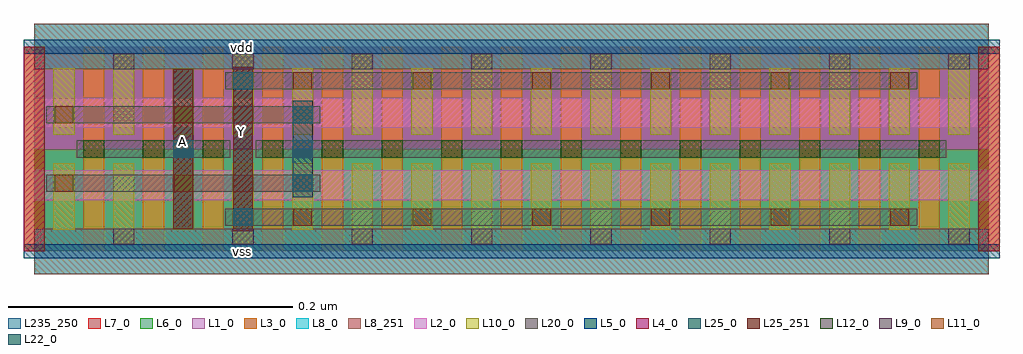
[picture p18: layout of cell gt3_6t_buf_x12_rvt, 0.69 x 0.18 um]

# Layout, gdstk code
import gdstk
lib = gdstk.Library(unit=1e-6, precision=5e-10)
def R(c, l, rs):  # rectangles x0, y0, x1, y1
    for r in rs: c.add(gdstk.rectangle(r[:2], r[2:], *l))
def A(c, l, x, y, w, h, nx, ny, dx, dy):  # array of equal rectangles
    R(c, l, [(x+i*dx, y+j*dy, x+i*dx+w, y+j*dy+h) for i in range(nx) for j in range(ny)])
L1_0 = (1, 0)
L2_0 = (2, 0)
L3_0 = (3, 0)
L4_0 = (4, 0)
L5_0 = (5, 0)
L6_0 = (6, 0)
L7_0 = (7, 0)
L8_0 = (8, 0)
L8_251 = (8, 251)
L9_0 = (9, 0)
L10_0 = (10, 0)
L11_0 = (11, 0)
L12_0 = (12, 0)
L20_0 = (20, 0)
L22_0 = (22, 0)
L25_0 = (25, 0)
L25_251 = (25, 251)
L235_250 = (235, 250)

gt3_6t_buf_x12_rvt = lib.new_cell('gt3_6t_buf_x12_rvt')
R(gt3_6t_buf_x12_rvt, L1_0, [(0,0.072,0.672,0.144)])
R(gt3_6t_buf_x12_rvt, L2_0, [(0,0.036,0.672,0.057), (0,0.087,0.672,0.108)])
A(gt3_6t_buf_x12_rvt, L3_0, -0.0075, 0, 0.015, 0.144, 10, 1, 0.042, 0)
A(gt3_6t_buf_x12_rvt, L3_0, 0.3705, 0, 0.015, 0.144, 3, 1, 0.042, 0)
A(gt3_6t_buf_x12_rvt, L3_0, 0.4545, 0, 0.015, 0.144, 3, 1, 0.042, 0)
A(gt3_6t_buf_x12_rvt, L3_0, 0.5385, 0, 0.015, 0.144, 3, 1, 0.042, 0)
R(gt3_6t_buf_x12_rvt, L3_0, [(0.6225,0,0.6375,0.144), (0.6645,0,0.6795,0.144)])
R(gt3_6t_buf_x12_rvt, L4_0, [(-0.0075,0,0.0075,0.144), (0.6645,0,0.6795,0.144)])
R(gt3_6t_buf_x12_rvt, L5_0, [(-0.0075,-0.005,0.6795,0.005), (-0.0075,0.139,0.6795,0.149)])
R(gt3_6t_buf_x12_rvt, L6_0, [(0,0,0.672,0.072)])
R(gt3_6t_buf_x12_rvt, L7_0, [(0,0.072,0.672,0.144)])
R(gt3_6t_buf_x12_rvt, L8_0, [(0,-0.016,0.672,0.016), (0,0.128,0.672,0.16)])
R(gt3_6t_buf_x12_rvt, L8_251, [(0,-0.016,0.672,0.016), (0,0.128,0.672,0.16)])
A(gt3_6t_buf_x12_rvt, L9_0, 0.0555, 0.005, 0.015, 0.011, 8, 2, 0.084, 0.123)
A(gt3_6t_buf_x12_rvt, L10_0, 0.0555, 0.005, 0.015, 0.057, 8, 2, 0.084, 0.077)
A(gt3_6t_buf_x12_rvt, L10_0, 0.0135, 0.015, 0.015, 0.047, 8, 2, 0.084, 0.067)
A(gt3_6t_buf_x12_rvt, L11_0, 0.1825, 0.018, 0.013, 0.012, 6, 2, 0.084, 0.096)
R(gt3_6t_buf_x12_rvt, L11_0, [(0.0145,0.042,0.0275,0.054), (0.0985,0.042,0.1115,0.054), (0.0145,0.09,0.0275,0.102), (0.0985,0.09,0.1115,0.102)])
A(gt3_6t_buf_x12_rvt, L12_0, 0.0345, 0.066, 0.015, 0.012, 15, 1, 0.042, 0)
R(gt3_6t_buf_x12_rvt, L20_0, [(0.1345,0.018,0.6215,0.03), (0.0085,0.042,0.2015,0.054), (0.03,0.066,0.138,0.078), (0.156,0.066,0.642,0.078), (0.0085,0.09,0.2015,0.102), (0.1345,0.114,0.6215,0.126)])
A(gt3_6t_buf_x12_rvt, L22_0, 0.182, 0.042, 0.014, 0.012, 1, 3, 0, 0.024)
R(gt3_6t_buf_x12_rvt, L22_0, [(0.14,0.018,0.154,0.03), (0.098,0.066,0.112,0.078), (0.14,0.114,0.154,0.126)])
R(gt3_6t_buf_x12_rvt, L25_0, [(0.14,0.014,0.154,0.13), (0.098,0.0155,0.112,0.1285), (0.182,0.038,0.196,0.106)])
R(gt3_6t_buf_x12_rvt, L25_251, [(0.14,0.014,0.154,0.13), (0.098,0.0155,0.112,0.1285)])
R(gt3_6t_buf_x12_rvt, L235_250, [(0,0,0.672,0.144)])
gt3_6t_buf_x12_rvt.add(gdstk.Label('vss', (0.1465,-0.0005), layer=8, texttype=251))
gt3_6t_buf_x12_rvt.add(gdstk.Label('vdd', (0.1465,0.1435), layer=8, texttype=251))
gt3_6t_buf_x12_rvt.add(gdstk.Label('A', (0.1045,0.0775), layer=25, texttype=251))
gt3_6t_buf_x12_rvt.add(gdstk.Label('Y', (0.146,0.084), layer=25, texttype=251))

lib.write_gds('gt3_6t_buf_x12_rvt.gds')
